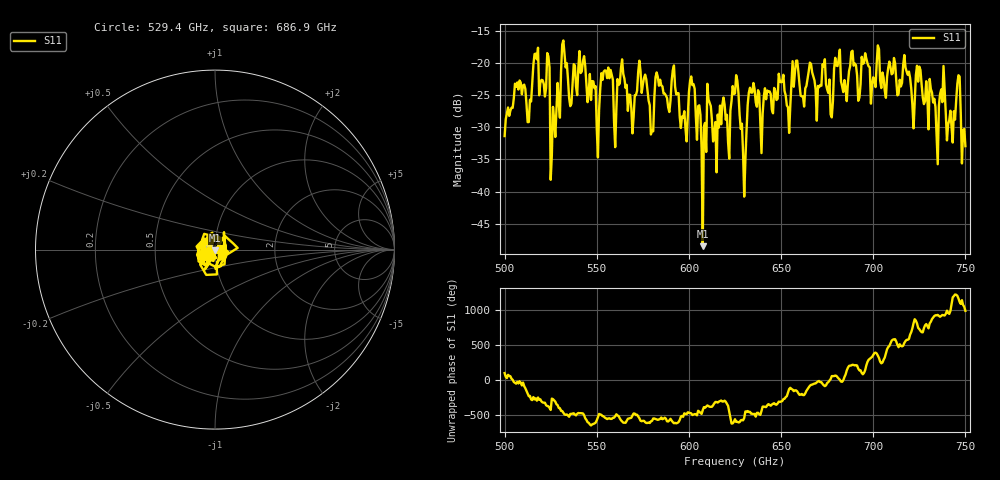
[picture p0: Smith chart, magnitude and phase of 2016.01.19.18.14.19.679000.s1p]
!Created with skrf (http://scikit-rf.org).
# GHz S RI R 50.0
!freq ReS11 ImS11
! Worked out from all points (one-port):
!   401 points, 500 GHz to 750 GHz, reference 50 ohm
!   lowest |S11| = -48.5 dB at 607.5 GHz (marker M1), VSWR 1.01, Z = 50.1 - j0.363 ohm
!   |S11| at or under -10 dB: start of sweep to end of sweep
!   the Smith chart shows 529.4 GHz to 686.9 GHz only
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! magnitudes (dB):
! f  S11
! 500 GHz  -31.4
! 506.9 GHz  -23.1
! 513.1 GHz  -29.2
! 516.9 GHz  -18.6
! 523.1 GHz  -18.5
! 526.2 GHz  -26.8
! 531.2 GHz  -17.2
! 550 GHz  -30.2
! 562.5 GHz  -23.2
! 576.2 GHz  -21.8
! 579.4 GHz  -31.1
! 583.1 GHz  -22.2
! 593.8 GHz  -24.7
! 598.1 GHz  -30.2
! 601.9 GHz  -23.5
! 607.5 GHz  -48.5
! 611.2 GHz  -26.2
! 621.2 GHz  -32.4
! 625 GHz  -24.8
! 630 GHz  -40.8
! 633.8 GHz  -24.6
! 656.2 GHz  -19.7
! 676.9 GHz  -28.0
! 687.5 GHz  -20.5
! 718.8 GHz  -21.9
! 734.4 GHz  -31.2
! 746.2 GHz  -21.9
! 750 GHz  -32.9
